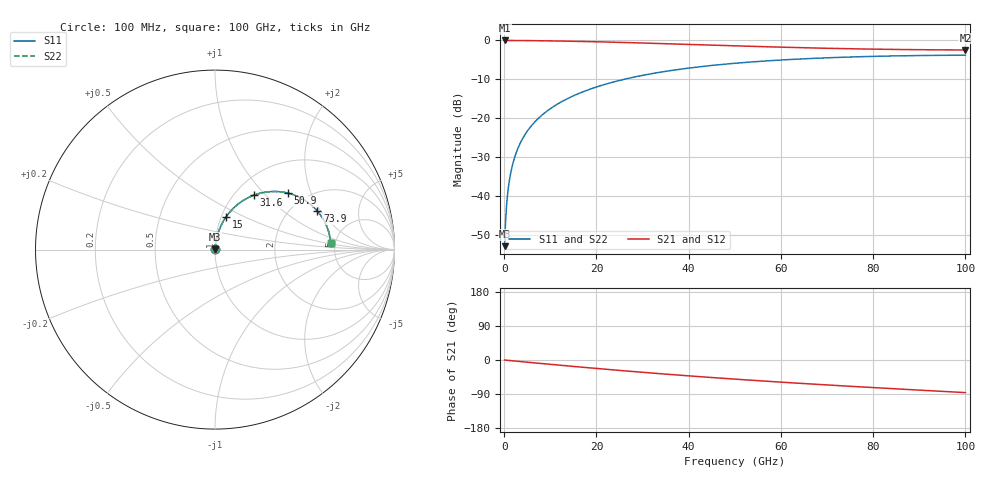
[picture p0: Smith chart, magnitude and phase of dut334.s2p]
! Touchstone file exported from HFSS 2026.1.0
!  File:  C:/ffzhzh/LocalFiles/Ansys_Project_Files/temp_train_RDL_334_1783502942_31944.aedt
!  Generated:  05:30:12 PM Jul  8, 2026
!  Design:  RDL
!  Project:  temp_train_RDL_334_1783502942_31944
! Variables:
!  h_bsmrdl = 2um
!  h_ox = 20um
!  h_rdl = 5um
!  h_sub = 80um
!  h_tmrdl = 4.82um
!  h_tsv = 80um
!  h_via = 3um
!  l_bsmrdl = 300um
!  l_sub = 677.83um
!  l_tmrdl = 277.83um
!  m_sub = 200um
!  pitch = 41.42um
!  r_tsv = 6um
!  s_tmrdl = 10um
!  w_bsmrdl = 18um
!  w_sub = 500um
!  w_tmrdl = 12.09um
!  x_tsv_center1 = 283.875um
!  x_tsv_center2 = 601.875um
!  x_tsv_center3 = 891.795um
!  x_tsv_center4 = 1209.795um
!  x_tsv_center5 = 1499.715um
!  x_tsv_center6 = 1817.715um
# GHz S MA R 50.000000
! Terminal data exported
! Port[1] = TM_RDL1_1_T1
! Port[2] = TM_RDL1_1_T2
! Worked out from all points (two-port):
!   1000 points, 100 MHz to 100 GHz, reference 50 ohm
!   highest |S21| = -0.02 dB at 100 MHz (marker M1); lowest = -2.5 dB at 100 GHz (marker M2)
!   |S21| within 3 dB of the highest: start of sweep to end of sweep
!   lowest |S11| = -52.8 dB at 100 MHz (marker M3), VSWR 1.00, Z = 50.2 + j0.145 ohm
!   |S11| at or under -10 dB: start of sweep to 25.95 GHz
!   |S22| runs from -52.8 to -3.8 dB; largest |S21 - S12| = 9.9e-15
!   S11 on the Smith chart (normalised r, x): 100 MHz: 1.00, +0.00; 15 GHz: 1.06, +0.40; 31.6 GHz: 1.22, +0.85; 50.9 GHz: 1.63, +1.39; 73.9 GHz: 2.72, +1.86; 100 GHz: 4.56, +0.61
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0.1  0.002295 39.0  0.9982 -0.1  0.9982 -0.1  0.002295 39.0
! Gamma 0 0 0 0
! Port Impedance 50 0 50 0
0.4  0.005997 71.0  0.9981 -0.5  0.9981 -0.5  0.005997 71.0
0.8  0.01139 78.8  0.9979 -0.9  0.9979 -0.9  0.01139 78.8
1.1  0.01549 80.9  0.9978 -1.3  0.9978 -1.3  0.01549 80.9
1.4  0.0196 82.0  0.9976 -1.7  0.9976 -1.7  0.0196 82.0
1.9  0.02645 82.8  0.9974 -2.2  0.9974 -2.2  0.02645 82.8
2.4  0.03329 82.9  0.997 -2.8  0.997 -2.8  0.03329 82.9
3.7  0.05092 82.4  0.9958 -4.3  0.9958 -4.3  0.05092 82.4
5.6  0.07623 80.7  0.9933 -6.5  0.9933 -6.5  0.07623 80.7
8.1  0.1088 78.2  0.9894 -9.3  0.9894 -9.3  0.1088 78.2
11.2  0.148 75.0  0.9833 -12.8  0.9833 -12.8  0.148 75.0
15  0.1945 71.1  0.9744 -17.0  0.9744 -17.0  0.1945 71.1
16.8  0.2158 69.3  0.9695 -18.9  0.9695 -18.9  0.2158 69.3
23.5  0.2907 62.5  0.9489 -25.9  0.9489 -25.9  0.2907 62.5
31.6  0.3708 54.6  0.92 -34.0  0.92 -34.0  0.3708 54.6
33.4  0.387 52.9  0.9132 -35.7  0.9132 -35.7  0.387 52.9
50.1  0.5093 38.4  0.8511 -50.6  0.8511 -50.6  0.5093 38.4
50.9  0.5139 37.8  0.8483 -51.2  0.8483 -51.2  0.5139 37.7
66.7  0.5868 25.7  0.8003 -63.4  0.8003 -63.4  0.5869 25.7
73.9  0.6093 20.6  0.7836 -68.6  0.7836 -68.6  0.6094 20.6
83.4  0.6303 14.2  0.7671 -75.1  0.7671 -75.1  0.6304 14.2
100  0.6459 3.4  0.7542 -86.1  0.7542 -86.1  0.646 3.4
